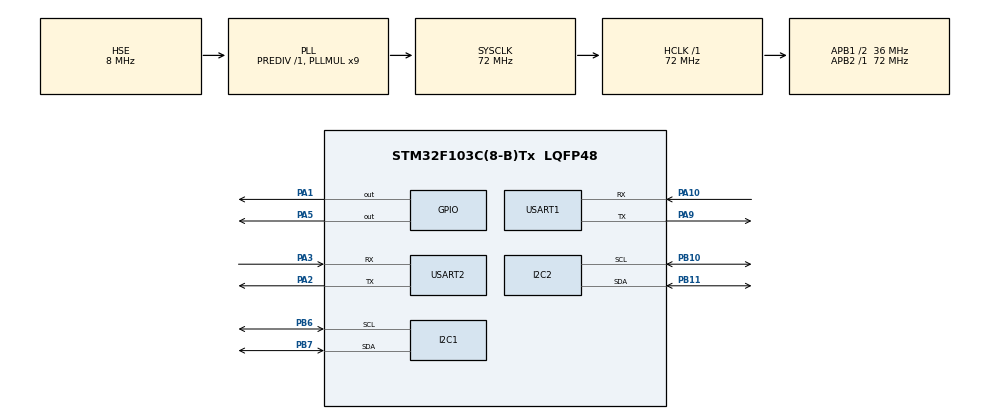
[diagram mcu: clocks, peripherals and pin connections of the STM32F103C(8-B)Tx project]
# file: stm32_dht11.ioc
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Mcu.Family=STM32F1
Mcu.Name=STM32F103C(8-B)Tx
Mcu.Package=LQFP48
NVIC.PriorityGroup=NVIC_PRIORITYGROUP_4
NVIC.USART1_IRQn=true\:0\:0\:false\:false\:true\:true\:true\:true
NVIC.USART2_IRQn=true\:0\:0\:false\:false\:true\:true\:true\:true
PA1.GPIO_ModeDefaultOutputPP=GPIO_MODE_OUTPUT_OD
PA1.GPIO_PuPd=GPIO_PULLUP
PA1.GPIO_Speed=GPIO_SPEED_FREQ_HIGH
PA1.PinState=GPIO_PIN_SET
PA1.Signal=GPIO_Output
PA10.Mode=Asynchronous
PA10.Signal=USART1_RX
PA13.Mode=Serial_Wire
PA13.Signal=SYS_JTMS-SWDIO
PA14.Mode=Serial_Wire
PA14.Signal=SYS_JTCK-SWCLK
PA2.Mode=Asynchronous
PA2.Signal=USART2_TX
PA3.GPIO_PuPd=GPIO_PULLUP
PA3.Mode=Asynchronous
PA3.Signal=USART2_RX
PA5.GPIO_PuPd=GPIO_NOPULL
PA5.GPIO_Speed=GPIO_SPEED_FREQ_HIGH
PA5.PinState=GPIO_PIN_SET
PA5.Signal=GPIO_Output
PA9.Mode=Asynchronous
PA9.Signal=USART1_TX
PB10.Mode=I2C
PB10.Signal=I2C2_SCL
PB11.Mode=I2C
PB11.Signal=I2C2_SDA
PB6.Mode=I2C
PB6.Signal=I2C1_SCL
PB7.Mode=I2C
PB7.Signal=I2C1_SDA
PD0-OSC_IN.Mode=HSE-External-Oscillator
PD0-OSC_IN.Signal=RCC_OSC_IN
PD1-OSC_OUT.Mode=HSE-External-Oscillator
PD1-OSC_OUT.Signal=RCC_OSC_OUT
ProjectManager.HeapSize=0x200
ProjectManager.StackSize=0x400
ProjectManager.TargetToolchain=MDK-ARM V5.32
RCC.AHBFreq_Value=72000000
RCC.APB1CLKDivider=RCC_HCLK_DIV2
RCC.APB1Freq_Value=36000000
RCC.APB1TimFreq_Value=72000000
RCC.APB2Freq_Value=72000000
RCC.APB2TimFreq_Value=72000000
RCC.HCLKFreq_Value=72000000
RCC.PLLMUL=RCC_PLL_MUL9
RCC.PLLSourceVirtual=RCC_PLLSOURCE_HSE
RCC.SYSCLKFreq_VALUE=72000000
RCC.SYSCLKSource=RCC_SYSCLKSOURCE_PLLCLK
RCC.USBFreq_Value=72000000
TIM1.AutoReloadPreload=TIM_AUTORELOAD_PRELOAD_ENABLE
TIM1.Prescaler=71
USART1.VirtualMode=VM_ASYNC
USART2.VirtualMode=VM_ASYNC
VP_TIM1_VS_ClockSourceINT.Mode=Internal
board=custom

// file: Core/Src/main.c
/* USER CODE BEGIN Header */
/**
  ******************************************************************************
  * @file           : main.c
  * @brief          : Main program body
  ******************************************************************************
  * @attention
  *
  * Copyright (c) 2026 STMicroelectronics.
  * All rights reserved.
  *
  * This software is licensed under terms that can be found in the LICENSE file
  * in the root directory of this software component.
  * If no LICENSE file comes with this software, it is provided AS-IS.
  *
  ******************************************************************************
  */
/* USER CODE END Header */
#include "main.h"
#include "i2c.h"
#include "tim.h"
#include "usart.h"
#include "gpio.h"

/* USER CODE BEGIN Includes */
#include "driver_oled.h"
#include "driver_dht11.h"
#include "driver_timer.h"
#include "driver_usart.h"
#include "driver_wifi.h"
#include <stdio.h>
/* USER CODE END Includes */

/* USER CODE BEGIN PTD */
extern uint8_t uart2_rx_byte;
/* USER CODE END PTD */

void SystemClock_Config(void);

/* USER CODE BEGIN 0 */
// WiFi 配置
#define WIFI_SSID     "Qingci"//WiFi名称
#define WIFI_PASSWORD "Msq528432"//WiFi密码
#define SERVER_IP     "10.115.93.238"  // 电脑 IP
#define SERVER_PORT   5000

#define COLLECT_INTERVAL_MS  300000    // 采集间隔5min
#define KEEPALIVE_INTERVAL_MS  60000  // 60秒保活一次

/* USER CODE END 0 */

int main(void)
{

  /* MCU Configuration--------------------------------------------------------*/

  /* Reset of all peripherals, Initializes the Flash interface and the Systick. */
  HAL_Init();

  /* Configure the system clock */
  SystemClock_Config();

  /* Initialize all configured peripherals */
  MX_GPIO_Init();
  MX_I2C1_Init();
  MX_I2C2_Init();
  MX_TIM1_Init();
  MX_USART2_UART_Init();
  MX_USART1_UART_Init();
  /* USER CODE BEGIN 2 */
	Timer_Init();
	DHT11_Init();
	OLED_Init();
	OLED_Clear();

	UsartPrintf(&huart1, "System Starting...\r\n");

    // 初始化 ESP8266
    UsartPrintf(&huart1, "Init ESP8266...\r\n");
    while (ESP8266_Init() != 0) {
        UsartPrintf(&huart1, "ESP8266 Init Failed, retrying...\r\n");
        HAL_Delay(2000);
    }
    UsartPrintf(&huart1, "ESP8266 OK\r\n");

    // 连接 WiFi - 一直重试直到成功
    UsartPrintf(&huart1, "Connecting WiFi...\r\n");
    OLED_PrintString(0, 6, "WifiConn");

    while (ESP8266_ConnectWiFi(WIFI_SSID, WIFI_PASSWORD) != 0) {
        UsartPrintf(&huart1, "WiFi Connect Failed, retrying...\r\n");
        OLED_PrintString(0, 6, "WifiRetry");
        HAL_Delay(3000);
    }

    UsartPrintf(&huart1, "WiFi Connected!\r\n");
    OLED_PrintString(0, 6, "WiFi OK ");

    // 记录上次采集时间和上次保活检查时间
    uint32_t last_collect_time = HAL_GetTick();
    uint32_t last_keepalive_time = HAL_GetTick();
  /* USER CODE END 2 */

  /* Infinite loop */
  /* USER CODE BEGIN WHILE */

while (1)
{
    uint32_t now = HAL_GetTick();

    // 定时采集上传
    if (now - last_collect_time >= COLLECT_INTERVAL_MS)
    {
        last_collect_time = now;

        // 读温湿度
        DHT11_Get();

        // OLED显示
        OLED_PrintString(0, 0, "Temp:");
        OLED_PrintFloatVal(7, 0, temperature, 2);
        OLED_PrintString(12, 0, "C");

        OLED_PrintString(0, 2, "Humi:");
        OLED_PrintFloatVal(7, 2, humidity, 2);
        OLED_PrintString(12, 2, "%");

        OLED_PrintString(0, 4, "            ");

        UsartPrintf(&huart1, "\r\n=== Collect & Upload ===\r\n");
        UsartPrintf(&huart1, "Temp: %.2f, Humi: %.2f\r\n", temperature, humidity);

        // 构建JSON
        char json_data[128];
        snprintf(json_data, sizeof(json_data),
            "{\"device_id\":1,\"temperature\":%.2f,\"humidity\":%.2f}",
            temperature, humidity);

        UsartPrintf(&huart1, "Sending: %s\r\n", json_data);

        // 发送数据
        uint8_t send_result = ESP8266_SendHttpPost(SERVER_IP, SERVER_PORT, json_data);
        if (send_result == 0)
        {
            UsartPrintf(&huart1, "Send OK\r\n");
            OLED_PrintString(0, 6, "WiFi OK  Send OK");
        }
        else
        {
            UsartPrintf(&huart1, "Send Failed, reconnect TCP only...\r\n");
            OLED_PrintString(0, 6, "TCP Reconnect");

						// 关闭TCP
						ESP8266_SendCmd("AT+CIPCLOSE");
						HAL_Delay(500);

					  // 重置保活计时器，避免重连过程中又发保活
						last_keepalive_time = HAL_GetTick();

						// 重连WiFi
						ESP8266_ConnectWiFi(WIFI_SSID, WIFI_PASSWORD);
        }
    }
    else
    {
        // 倒计时显示
        uint32_t remaining_ms = COLLECT_INTERVAL_MS - (now - last_collect_time);
        uint32_t remaining_sec = remaining_ms / 1000;
        uint32_t remaining_min = remaining_sec / 60;
        uint32_t remaining_sec_mod = remaining_sec % 60;

        char countdown_str[20];
        sprintf(countdown_str, "Next:%02lu:%02lu",
            (unsigned long)remaining_min,
            (unsigned long)remaining_sec_mod);
        OLED_PrintString(0, 4, countdown_str);

				// 在 else 分支中，先检查 WiFi 是否还在线
				if (now - last_keepalive_time >= KEEPALIVE_INTERVAL_MS) {
						// 只检查 WiFi 状态，不发保活
						ESP8266_SendCmd("AT+CIPSTATUS");
						// 简单判断：如果不响应，说明 WiFi 已断
						if (!ESP8266_WaitResponse("STATUS", 500)) {
								// WiFi 已断，不继续发保活
						} else {
								// WiFi 正常，发保活
								UsartPrintf(&huart1, "Keepalive...\r\n");
								ESP8266_SendCmd("AT");
						}
						last_keepalive_time = now;// 重置计时器，避免频繁检查
				}
    }

    HAL_Delay(1000);
}
    /* USER CODE END WHILE */

}

void SystemClock_Config(void)
{
  RCC_OscInitTypeDef RCC_OscInitStruct = {0};
  RCC_ClkInitTypeDef RCC_ClkInitStruct = {0};

  /** Initializes the RCC Oscillators according to the specified parameters
  * in the RCC_OscInitTypeDef structure.
  */
  RCC_OscInitStruct.OscillatorType = RCC_OSCILLATORTYPE_HSE;
  RCC_OscInitStruct.HSEState = RCC_HSE_ON;
  RCC_OscInitStruct.HSEPredivValue = RCC_HSE_PREDIV_DIV1;
  RCC_OscInitStruct.HSIState = RCC_HSI_ON;
  RCC_OscInitStruct.PLL.PLLState = RCC_PLL_ON;
  RCC_OscInitStruct.PLL.PLLSource = RCC_PLLSOURCE_HSE;
  RCC_OscInitStruct.PLL.PLLMUL = RCC_PLL_MUL9;
  if (HAL_RCC_OscConfig(&RCC_OscInitStruct) != HAL_OK)
  {
    Error_Handler();
  }

  /** Initializes the CPU, AHB and APB buses clocks
  */
  RCC_ClkInitStruct.ClockType = RCC_CLOCKTYPE_HCLK|RCC_CLOCKTYPE_SYSCLK
                              |RCC_CLOCKTYPE_PCLK1|RCC_CLOCKTYPE_PCLK2;
  RCC_ClkInitStruct.SYSCLKSource = RCC_SYSCLKSOURCE_PLLCLK;
  RCC_ClkInitStruct.AHBCLKDivider = RCC_SYSCLK_DIV1;
  RCC_ClkInitStruct.APB1CLKDivider = RCC_HCLK_DIV2;
  RCC_ClkInitStruct.APB2CLKDivider = RCC_HCLK_DIV1;

  if (HAL_RCC_ClockConfig(&RCC_ClkInitStruct, FLASH_LATENCY_2) != HAL_OK)
  {
    Error_Handler();
  }
}

void Error_Handler(void)
{
  __disable_irq();
  while (1)
  {
  }
}
